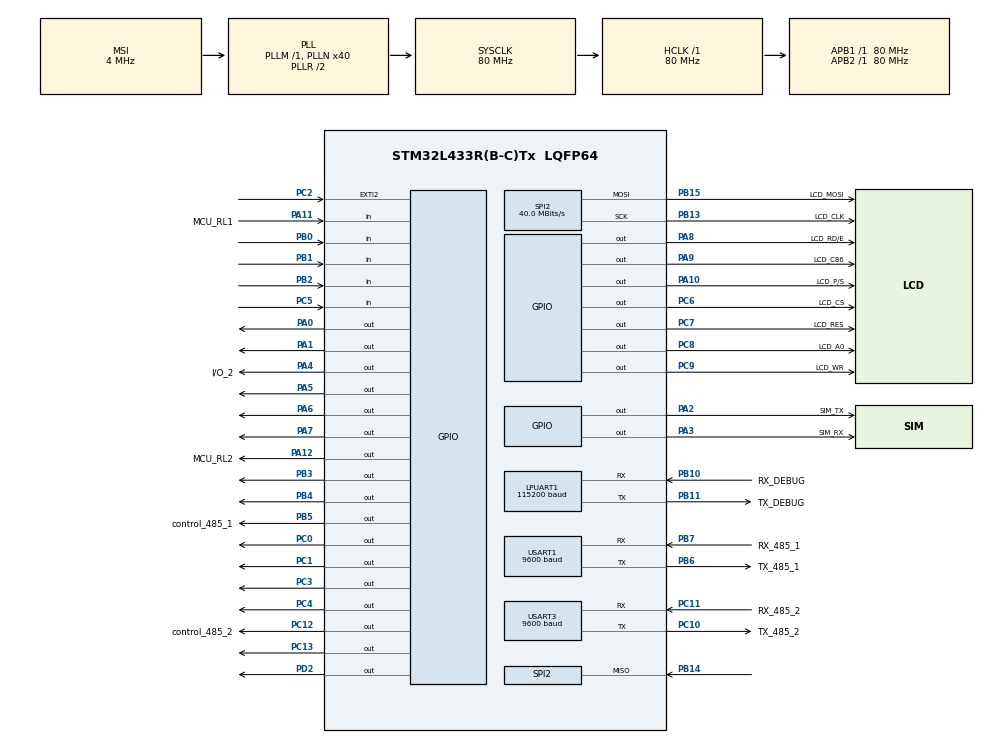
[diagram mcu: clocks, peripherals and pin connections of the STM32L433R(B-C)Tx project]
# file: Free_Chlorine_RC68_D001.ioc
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LPUART1.BaudRate=115200
LPUART1.WordLength=UART_WORDLENGTH_8B
Mcu.Family=STM32L4
Mcu.Name=STM32L433R(B-C)Tx
Mcu.Package=LQFP64
NVIC.PriorityGroup=NVIC_PRIORITYGROUP_4
NVIC.USART1_IRQn=true\:0\:0\:false\:false\:true\:true\:true\:true
NVIC.USART3_IRQn=true\:0\:0\:false\:false\:true\:true\:true\:true
PA0.Signal=GPIO_Output
PA1.Signal=GPIO_Output
PA10.GPIO_Label=LCD_P/S
PA10.Signal=GPIO_Output
PA11.GPIO_Label=MCU_RL1
PA11.Signal=GPIO_Input
PA12.GPIO_Label=MCU_RL2
PA12.Signal=GPIO_Output
PA13\ (JTMS-SWDIO).Mode=Serial_Wire
PA13\ (JTMS-SWDIO).Signal=SYS_JTMS-SWDIO
PA14\ (JTCK-SWCLK).Mode=Serial_Wire
PA14\ (JTCK-SWCLK).Signal=SYS_JTCK-SWCLK
PA2.GPIO_Label=SIM_TX
PA2.Signal=GPIO_Output
PA3.GPIO_Label=SIM_RX
PA3.Signal=GPIO_Output
PA4.GPIO_Label=I/O_2
PA4.Signal=GPIO_Output
PA5.Signal=GPIO_Output
PA6.Signal=GPIO_Output
PA7.Signal=GPIO_Output
PA8.GPIO_Label=LCD_RD/E
PA8.Signal=GPIO_Output
PA9.GPIO_Label=LCD_C86
PA9.Signal=GPIO_Output
PB0.GPIO_PuPd=GPIO_PULLUP
PB0.Signal=GPIO_Input
PB1.GPIO_PuPd=GPIO_PULLUP
PB1.Signal=GPIO_Input
PB10.GPIO_Label=RX_DEBUG
PB10.Mode=Asynchronous
PB10.Signal=LPUART1_RX
PB11.GPIO_Label=TX_DEBUG
PB11.Mode=Asynchronous
PB11.Signal=LPUART1_TX
PB13.GPIO_Label=LCD_CLK
PB13.Mode=Full_Duplex_Master
PB13.Signal=SPI2_SCK
PB14.Mode=Full_Duplex_Master
PB14.Signal=SPI2_MISO
PB15.GPIO_Label=LCD_MOSI
PB15.Mode=Full_Duplex_Master
PB15.Signal=SPI2_MOSI
PB2.GPIO_PuPd=GPIO_PULLUP
PB2.Signal=GPIO_Input
PB3\ (JTDO-TRACESWO).Signal=GPIO_Output
PB4\ (NJTRST).Signal=GPIO_Output
PB5.GPIO_Label=control_485_1
PB5.Signal=GPIO_Output
PB6.GPIO_Label=TX_485_1
PB6.Mode=Asynchronous
PB6.Signal=USART1_TX
PB7.GPIO_Label=RX_485_1
PB7.Mode=Asynchronous
PB7.Signal=USART1_RX
PC0.Signal=GPIO_Output
PC1.Signal=GPIO_Output
PC10.GPIO_Label=TX_485_2
PC10.Mode=Asynchronous
PC10.Signal=USART3_TX
PC11.GPIO_Label=RX_485_2
PC11.Mode=Asynchronous
PC11.Signal=USART3_RX
PC12.GPIO_Label=control_485_2
PC12.Signal=GPIO_Output
PC13.Signal=GPIO_Output
PC14-OSC32_IN\ (PC14).Mode=LSE-External-Oscillator
PC14-OSC32_IN\ (PC14).Signal=RCC_OSC32_IN
PC15-OSC32_OUT\ (PC15).Mode=LSE-External-Oscillator
PC15-OSC32_OUT\ (PC15).Signal=RCC_OSC32_OUT
PC2.Signal=GPXTI2
PC3.Signal=GPIO_Output
PC4.Signal=GPIO_Output
PC5.GPIO_PuPd=GPIO_PULLUP
PC5.Signal=GPIO_Input
PC6.GPIO_Label=LCD_CS
PC6.Signal=GPIO_Output
PC7.GPIO_Label=LCD_RES
PC7.Signal=GPIO_Output
PC8.GPIO_Label=LCD_A0
PC8.Signal=GPIO_Output
PC9.GPIO_Label=LCD_WR
PC9.Signal=GPIO_Output
PD2.Signal=GPIO_Output
ProjectManager.HeapSize=0x200
ProjectManager.StackSize=0x400
ProjectManager.TargetToolchain=STM32CubeIDE
RCC.ADCFreq_Value=16000000
RCC.AHBFreq_Value=80000000
RCC.APB1Freq_Value=80000000
RCC.APB1TimFreq_Value=80000000
RCC.APB2Freq_Value=80000000
RCC.APB2TimFreq_Value=80000000
RCC.CortexFreq_Value=80000000
RCC.HCLKFreq_Value=80000000
RCC.HSE_VALUE=8000000
RCC.HSI48_VALUE=48000000
RCC.HSI_VALUE=16000000
RCC.MSI_VALUE=4000000
RCC.PLLN=40
RCC.SYSCLKFreq_VALUE=80000000
RCC.SYSCLKSource=RCC_SYSCLKSOURCE_PLLCLK
RCC.USBFreq_Value=16000000
RCC.VCOOutputFreq_Value=160000000
SPI2.BaudRatePrescaler=SPI_BAUDRATEPRESCALER_2
SPI2.CLKPhase=SPI_PHASE_1EDGE
SPI2.CLKPolarity=SPI_POLARITY_LOW
SPI2.CalculateBaudRate=40.0 MBits/s
SPI2.DataSize=SPI_DATASIZE_8BIT
SPI2.Direction=SPI_DIRECTION_2LINES
SPI2.Mode=SPI_MODE_MASTER
SPI2.VirtualType=VM_MASTER
USART1.BaudRate=9600
USART1.VirtualMode-Asynchronous=VM_ASYNC
USART3.BaudRate=9600
USART3.VirtualMode-Asynchronous=VM_ASYNC
board=custom

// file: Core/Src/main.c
/* USER CODE BEGIN Header */
/**
  ******************************************************************************
  * @file           : main.c
  * @brief          : Main program body
  ******************************************************************************
  * @attention
  *
  * Copyright (c) 2026 STMicroelectronics.
  * All rights reserved.
  *
  * This software is licensed under terms that can be found in the LICENSE file
  * in the root directory of this software component.
  * If no LICENSE file comes with this software, it is provided AS-IS.
  *
  ******************************************************************************
  */
/* USER CODE END Header */
#include "main.h"
#include "usart.h"
#include "spi.h"
#include "gpio.h"

/* USER CODE BEGIN Includes */
#include "Task.h"
#include "STM32L4.h"
#include "modbus_rtu.h"
#include "modbus_master.h"
#include "modbus_slave.h"
#include "clo_rc68.h"
#include "interface_lcd.h"
//#include "unit_tests.h"
//#include "glcd_graphics.h"

/* USER CODE END Includes */

void SystemClock_Config(void);

int main(void)
{

  /* MCU Configuration--------------------------------------------------------*/

  /* Reset of all peripherals, Initializes the Flash interface and the Systick. */
  HAL_Init();

  /* Configure the system clock */
  SystemClock_Config();

  /* Initialize all configured peripherals */
  MX_GPIO_Init();
  MX_SPI2_Init();
  MX_USART1_UART_Init();
  MX_USART3_UART_Init();
  MX_LPUART1_UART_Init();
  /* USER CODE BEGIN 2 */
  HAL_Delay(50);
  /* Init màn hình */
  glcd_init();

  BSP_RS485_Init();

  MB_RTU_Init(&mb1, RS485_PORT3, 1);   // port + slave_id (ko quá quan trọng với master)
  MB_SLAVE_Init(&mb_slave, RS485_PORT1, 2);
  HAL_GPIO_WritePin(GPIOB, GPIO_PIN_3, SET);
  HAL_GPIO_WritePin(GPIOD, GPIO_PIN_2, SET);
  HAL_GPIO_WritePin(GPIOB, GPIO_PIN_4, SET);
//  HAL_GPIO_WritePin(GPIOC, GPIO_PIN_12, RESET);

  /* USER CODE END 2 */

  /* Infinite loop */
  /* USER CODE BEGIN WHILE */
  while (1)
  {
//	  uint8_t tx_data = 0x55;
//	  HAL_UART_Transmit(&huart3, &tx_data, 1, 100);
//	    HAL_Delay(1000);
	  Comm_Task();
    /* USER CODE END WHILE */

  }
}

void SystemClock_Config(void)
{
  RCC_OscInitTypeDef RCC_OscInitStruct = {0};
  RCC_ClkInitTypeDef RCC_ClkInitStruct = {0};

  /** Configure the main internal regulator output voltage
  */
  if (HAL_PWREx_ControlVoltageScaling(PWR_REGULATOR_VOLTAGE_SCALE1) != HAL_OK)
  {
    Error_Handler();
  }

  /** Configure LSE Drive Capability
  */
  HAL_PWR_EnableBkUpAccess();
  __HAL_RCC_LSEDRIVE_CONFIG(RCC_LSEDRIVE_LOW);

  /** Initializes the RCC Oscillators according to the specified parameters
  * in the RCC_OscInitTypeDef structure.
  */
  RCC_OscInitStruct.OscillatorType = RCC_OSCILLATORTYPE_LSE|RCC_OSCILLATORTYPE_MSI;
  RCC_OscInitStruct.LSEState = RCC_LSE_ON;
  RCC_OscInitStruct.MSIState = RCC_MSI_ON;
  RCC_OscInitStruct.MSICalibrationValue = 0;
  RCC_OscInitStruct.MSIClockRange = RCC_MSIRANGE_6;
  RCC_OscInitStruct.PLL.PLLState = RCC_PLL_ON;
  RCC_OscInitStruct.PLL.PLLSource = RCC_PLLSOURCE_MSI;
  RCC_OscInitStruct.PLL.PLLM = 1;
  RCC_OscInitStruct.PLL.PLLN = 40;
  RCC_OscInitStruct.PLL.PLLP = RCC_PLLP_DIV7;
  RCC_OscInitStruct.PLL.PLLQ = RCC_PLLQ_DIV2;
  RCC_OscInitStruct.PLL.PLLR = RCC_PLLR_DIV2;
  if (HAL_RCC_OscConfig(&RCC_OscInitStruct) != HAL_OK)
  {
    Error_Handler();
  }

  /** Initializes the CPU, AHB and APB buses clocks
  */
  RCC_ClkInitStruct.ClockType = RCC_CLOCKTYPE_HCLK|RCC_CLOCKTYPE_SYSCLK
                              |RCC_CLOCKTYPE_PCLK1|RCC_CLOCKTYPE_PCLK2;
  RCC_ClkInitStruct.SYSCLKSource = RCC_SYSCLKSOURCE_PLLCLK;
  RCC_ClkInitStruct.AHBCLKDivider = RCC_SYSCLK_DIV1;
  RCC_ClkInitStruct.APB1CLKDivider = RCC_HCLK_DIV1;
  RCC_ClkInitStruct.APB2CLKDivider = RCC_HCLK_DIV1;

  if (HAL_RCC_ClockConfig(&RCC_ClkInitStruct, FLASH_LATENCY_4) != HAL_OK)
  {
    Error_Handler();
  }

  /** Enable MSI Auto calibration
  */
  HAL_RCCEx_EnableMSIPLLMode();
}

void Error_Handler(void)
{
  __disable_irq();
  while (1)
  {
  }
}
